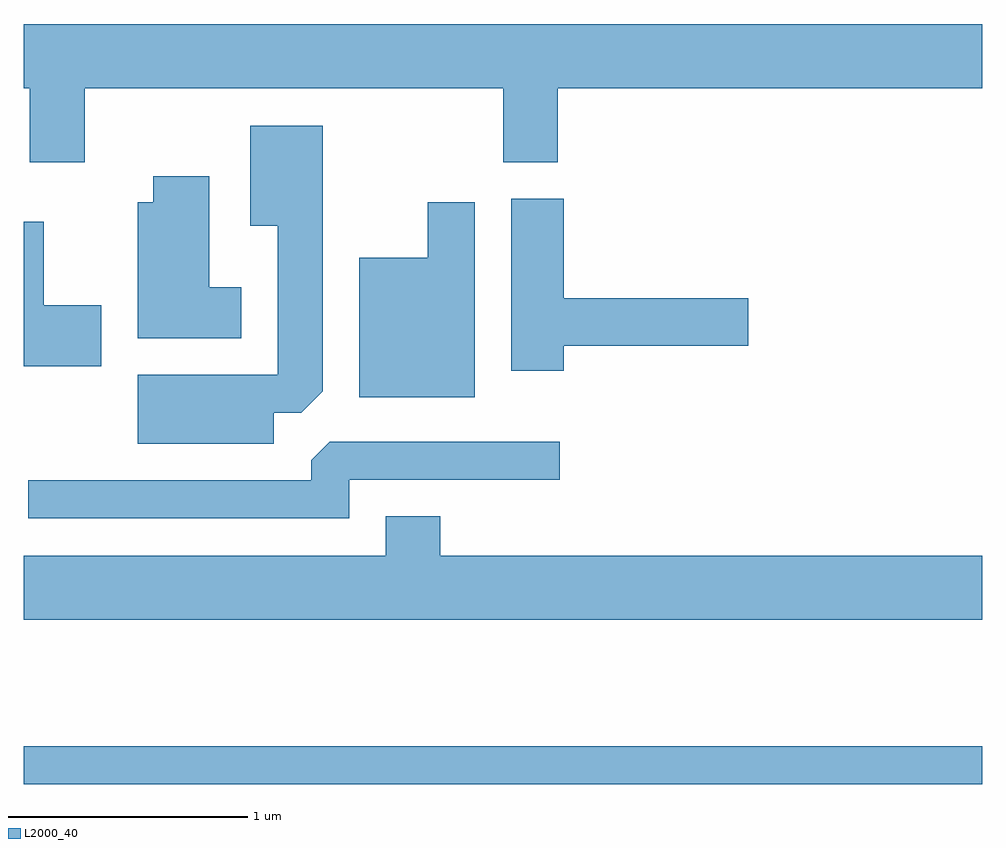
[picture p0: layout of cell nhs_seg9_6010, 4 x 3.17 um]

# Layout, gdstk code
import gdstk
lib = gdstk.Library(unit=1e-6, precision=1e-09)
def R(c, l, rs):  # rectangles x0, y0, x1, y1
    for r in rs: c.add(gdstk.rectangle(r[:2], r[2:], *l))
def P(c, l, *ps):  # polygons
    for p in ps: c.add(gdstk.Polygon(p, *l))
L2000_40 = (2000, 40)

nhs_seg9_6010 = lib.new_cell('nhs_seg9_6010')
R(nhs_seg9_6010, L2000_40, [(361.611,2066.611,365.611,2066.769)])
P(nhs_seg9_6010, L2000_40, [(361.864,2069.516),(363.611,2069.516),(363.611,2069.206),(363.839,2069.206),(363.839,2069.516),(365.611,2069.516),(365.611,2069.784),(361.611,2069.784),(361.611,2069.516),(361.636,2069.516),(361.636,2069.206),(361.864,2069.206)],
  [(362.654,2068.161),(362.769,2068.161),(362.859,2068.251),(362.859,2069.359),(362.556,2069.359),(362.556,2068.941),(362.671,2068.941),(362.671,2068.319),(362.086,2068.319),(362.086,2068.031),(362.654,2068.031)],
  [(362.519,2068.684),(362.384,2068.684),(362.384,2069.149),(362.151,2069.149),(362.151,2069.039),(362.086,2069.039),(362.086,2068.471),(362.519,2068.471)],
  [(363.864,2068.441),(364.634,2068.441),(364.634,2068.639),(363.864,2068.639),(363.864,2069.054),(363.646,2069.054),(363.646,2068.336),(363.864,2068.336)],
  [(363.494,2069.039),(363.296,2069.039),(363.296,2068.809),(363.011,2068.809),(363.011,2068.226),(363.494,2068.226)],
  [(361.934,2068.609),(361.694,2068.609),(361.694,2068.959),(361.611,2068.959),(361.611,2068.356),(361.934,2068.356)],
  [(362.969,2067.881),(363.848,2067.881),(363.848,2068.039),(362.887,2068.039),(362.811,2067.963),(362.811,2067.879),(361.628,2067.879),(361.628,2067.721),(362.969,2067.721)],
  [(365.611,2067.564),(363.349,2067.564),(363.349,2067.729),(363.121,2067.729),(363.121,2067.564),(361.611,2067.564),(361.611,2067.296),(365.611,2067.296)])

lib.write_gds('nhs_seg9_6010.gds')
